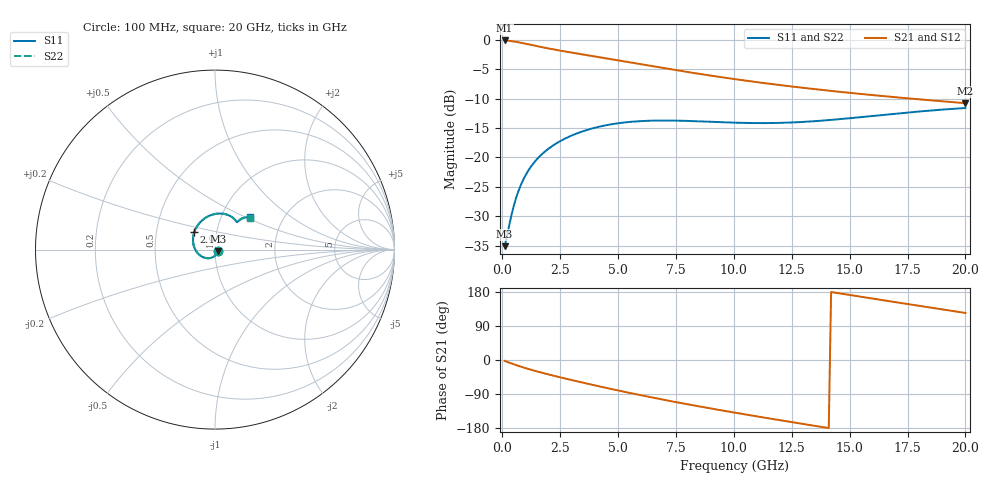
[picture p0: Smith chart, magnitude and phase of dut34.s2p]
! Touchstone file exported from HFSS 2023.1.0
!  File:  D:/Users/fzz/RDL_TSV/temp_RDL_TSV_34_1778744265.aedt
!  Generated:  3:45:00 %x4E0B%x5348  5%x6708 14, 2026
!  Design:  RDL_TSV
!  Project:  temp_RDL_TSV_34_1778744265
!  Setup:  Setup1
!  Solution:  Sweep
! Variables:
!  dtsv = 21.64um
!  hbump = 3um
!  htsv = 75.35um
!  ldown = 475.02um
!  lrdl = 370.62um
!  p = 40
!  p1 = 52.73um
!  rhole = 10um
!  subl = 2907.54um
!  t = 450um
!  tdown = 2.95um
!  trdl = 3.67um
!  viad = 10um
!  wdown = 15.83um
!  wrdl = 27.95um
!  xbump = 18um
# GHz S MA R 50.000000
! Terminal data exported
! Port[1] = TM1_1_T1
! Port[2] = TM1_4_T1
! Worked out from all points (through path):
!   200 points, 100 MHz to 20 GHz, reference 50 ohm
!   highest |S21| = -0.15 dB at 100 MHz (marker M1); lowest = -10.8 dB at 20 GHz (marker M2)
!   group delay of S21, straight-line fit = 31 ps
!   lowest |S11| = -35.0 dB at 100 MHz (marker M3), VSWR 1.04, Z = 51.5 - j0.91 ohm
!   |S11| at or under -10 dB: start of sweep to end of sweep
!   |S22| runs from -35.0 to -11.7 dB; largest |S21 - S12| = 2.3e-14
!   S11 on the Smith chart (normalised r, x): 100 MHz: 1.03, -0.02; 2.9 GHz: 0.78, +0.15; 20 GHz: 1.36, +0.52
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0.1  0.01769 -29.9  0.9829 -2.4  0.9829 -2.4  0.01769 -29.9
! Gamma 0 0 0 0
! Port Impedance 50 0 50 0
0.4  0.0327 -87.7  0.97 -9.2  0.97 -9.2  0.03276 -87.7
0.6  0.04564 -108.6  0.9565 -13.5  0.9565 -13.5  0.04572 -108.6
0.8  0.05837 -124.8  0.9405 -17.6  0.9405 -17.6  0.05845 -124.8
1.1  0.07609 -144.7  0.9144 -23.3  0.9144 -23.3  0.07616 -144.7
1.4  0.09195 -161.5  0.8881 -28.5  0.8881 -28.5  0.09202 -161.5
1.8  0.1105 179.4  0.8554 -35.1  0.8554 -35.1  0.1106 179.4
2.3  0.1305 159.5  0.8192 -42.7  0.8192 -42.7  0.1305 159.6
2.9  0.1506 140.1  0.7811 -51.5  0.7811 -51.5  0.1508 140.1
3.5  0.1673 124.1  0.7463 -60.0  0.7463 -60.0  0.1675 124.1
4.2  0.1827 108.7  0.708 -69.7  0.708 -69.7  0.1829 108.7
5  0.1951 94.4  0.6662 -80.4  0.6662 -80.4  0.1953 94.4
5.9  0.203 81.7  0.6217 -91.9  0.6217 -91.9  0.2033 81.6
6.8  0.2058 71.7  0.5803 -102.9  0.5803 -102.9  0.2062 71.6
8.4  0.2029 59.7  0.5158 -121.3  0.5158 -121.3  0.2034 59.6
10.1  0.1972 53.3  0.4601 -139.6  0.4601 -139.6  0.1977 53.1
11.7  0.196 51.3  0.418 -155.9  0.418 -155.9  0.1964 51.0
13.4  0.2026 51.0  0.3817 -172.8  0.3817 -172.8  0.2027 50.6
15  0.2153 50.5  0.3534 171.6  0.3534 171.6  0.2151 50.1
16.7  0.2323 48.9  0.3281 155.3  0.3281 155.3  0.2317 48.5
18.3  0.2484 46.4  0.3077 140.1  0.3077 140.1  0.2473 46.0
20  0.2627 43.0  0.2889 124.2  0.2889 124.2  0.2613 42.6
